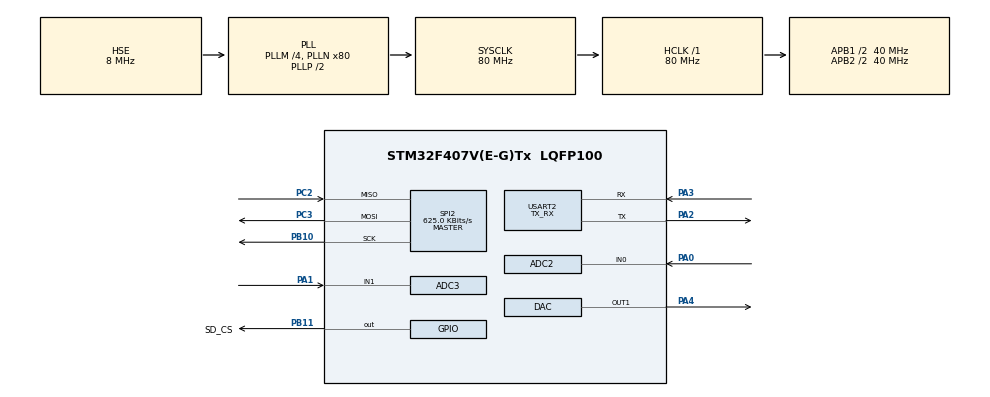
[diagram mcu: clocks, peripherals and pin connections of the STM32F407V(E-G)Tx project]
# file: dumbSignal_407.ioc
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ADC2.Channel-2\#ChannelRegularConversion=ADC_CHANNEL_0
ADC2.DMAContinuousRequests=ENABLE
ADC2.EOCSelection=ADC_EOC_SINGLE_CONV
ADC2.ExternalTrigConv=ADC_EXTERNALTRIGCONV_T3_TRGO
ADC2.NbrOfConversion=1
ADC2.NbrOfConversionFlag=1
ADC2.Rank-2\#ChannelRegularConversion=1
ADC2.SamplingTime-2\#ChannelRegularConversion=ADC_SAMPLETIME_3CYCLES
ADC2.ScanConvMode=ENABLE
ADC3.Channel-6\#ChannelRegularConversion=ADC_CHANNEL_1
ADC3.DMAContinuousRequests=ENABLE
ADC3.ExternalTrigConv=ADC_EXTERNALTRIGCONV_T3_TRGO
ADC3.ExternalTrigConvEdge=ADC_EXTERNALTRIGCONVEDGE_RISING
ADC3.NbrOfConversionFlag=1
ADC3.Rank-6\#ChannelRegularConversion=1
ADC3.SamplingTime-6\#ChannelRegularConversion=ADC_SAMPLETIME_3CYCLES
ADC3.ScanConvMode=ENABLE
DAC.DAC_Trigger=DAC_TRIGGER_T2_TRGO
Dma.ADC2.2.Direction=DMA_PERIPH_TO_MEMORY
Dma.ADC2.2.FIFOMode=DMA_FIFOMODE_DISABLE
Dma.ADC2.2.Instance=DMA2_Stream2
Dma.ADC2.2.MemDataAlignment=DMA_MDATAALIGN_WORD
Dma.ADC2.2.MemInc=DMA_MINC_ENABLE
Dma.ADC2.2.Mode=DMA_CIRCULAR
Dma.ADC2.2.PeriphDataAlignment=DMA_PDATAALIGN_WORD
Dma.ADC2.2.PeriphInc=DMA_PINC_DISABLE
Dma.ADC2.2.Priority=DMA_PRIORITY_LOW
Dma.ADC3.3.Direction=DMA_PERIPH_TO_MEMORY
Dma.ADC3.3.FIFOMode=DMA_FIFOMODE_DISABLE
Dma.ADC3.3.Instance=DMA2_Stream0
Dma.ADC3.3.MemDataAlignment=DMA_MDATAALIGN_WORD
Dma.ADC3.3.MemInc=DMA_MINC_ENABLE
Dma.ADC3.3.Mode=DMA_CIRCULAR
Dma.ADC3.3.PeriphDataAlignment=DMA_PDATAALIGN_WORD
Dma.ADC3.3.PeriphInc=DMA_PINC_DISABLE
Dma.ADC3.3.Priority=DMA_PRIORITY_LOW
Dma.DAC1.0.Direction=DMA_MEMORY_TO_PERIPH
Dma.DAC1.0.FIFOMode=DMA_FIFOMODE_DISABLE
Dma.DAC1.0.Instance=DMA1_Stream5
Dma.DAC1.0.MemDataAlignment=DMA_MDATAALIGN_WORD
Dma.DAC1.0.MemInc=DMA_MINC_ENABLE
Dma.DAC1.0.Mode=DMA_CIRCULAR
Dma.DAC1.0.PeriphDataAlignment=DMA_PDATAALIGN_WORD
Dma.DAC1.0.PeriphInc=DMA_PINC_DISABLE
Dma.DAC1.0.Priority=DMA_PRIORITY_HIGH
Dma.Request0=DAC1
Dma.Request1=USART2_TX
Dma.Request2=ADC2
Dma.Request3=ADC3
Dma.USART2_TX.1.Direction=DMA_MEMORY_TO_PERIPH
Dma.USART2_TX.1.FIFOMode=DMA_FIFOMODE_DISABLE
Dma.USART2_TX.1.Instance=DMA1_Stream6
Dma.USART2_TX.1.MemDataAlignment=DMA_MDATAALIGN_BYTE
Dma.USART2_TX.1.MemInc=DMA_MINC_ENABLE
Dma.USART2_TX.1.Mode=DMA_NORMAL
Dma.USART2_TX.1.PeriphDataAlignment=DMA_PDATAALIGN_BYTE
Dma.USART2_TX.1.PeriphInc=DMA_PINC_DISABLE
Dma.USART2_TX.1.Priority=DMA_PRIORITY_LOW
FATFS._MAX_SS=4096
FATFS._MIN_SS=512
FATFS._USE_LFN=1
Mcu.Family=STM32F4
Mcu.Name=STM32F407V(E-G)Tx
Mcu.Package=LQFP100
NVIC.DMA1_Stream5_IRQn=true\:0\:0\:false\:false\:true\:false\:true
NVIC.DMA1_Stream6_IRQn=true\:0\:0\:false\:false\:true\:false\:true
NVIC.DMA2_Stream0_IRQn=true\:0\:0\:false\:false\:true\:false\:true
NVIC.DMA2_Stream2_IRQn=true\:0\:0\:false\:false\:true\:false\:true
NVIC.PriorityGroup=NVIC_PRIORITYGROUP_4
NVIC.TIM2_IRQn=true\:0\:0\:false\:false\:true\:true\:true
NVIC.TIM3_IRQn=true\:0\:0\:false\:false\:true\:true\:true
NVIC.USART2_IRQn=true\:0\:0\:false\:false\:true\:true\:true
PA0-WKUP.Signal=ADCx_IN0
PA1.Signal=ADCx_IN1
PA2.Mode=Asynchronous
PA2.Signal=USART2_TX
PA3.Mode=Asynchronous
PA3.Signal=USART2_RX
PA4.Signal=COMP_DAC1_group
PB10.GPIO_PuPd=GPIO_PULLUP
PB10.Mode=Full_Duplex_Master
PB10.Signal=SPI2_SCK
PB11.GPIO_Label=SD_CS
PB11.Signal=GPIO_Output
PC14-OSC32_IN.Mode=LSE-External-Oscillator
PC14-OSC32_IN.Signal=RCC_OSC32_IN
PC15-OSC32_OUT.Mode=LSE-External-Oscillator
PC15-OSC32_OUT.Signal=RCC_OSC32_OUT
PC2.GPIO_PuPd=GPIO_PULLUP
PC2.Mode=Full_Duplex_Master
PC2.Signal=SPI2_MISO
PC3.GPIO_PuPd=GPIO_PULLUP
PC3.Mode=Full_Duplex_Master
PC3.Signal=SPI2_MOSI
PH0-OSC_IN.Mode=HSE-External-Oscillator
PH0-OSC_IN.Signal=RCC_OSC_IN
PH1-OSC_OUT.Mode=HSE-External-Oscillator
PH1-OSC_OUT.Signal=RCC_OSC_OUT
ProjectManager.HeapSize=0x200
ProjectManager.StackSize=0x400
ProjectManager.TargetToolchain=STM32CubeIDE
RCC.48MHZClocksFreq_Value=40000000
RCC.AHBFreq_Value=80000000
RCC.APB1CLKDivider=RCC_HCLK_DIV2
RCC.APB1Freq_Value=40000000
RCC.APB1TimFreq_Value=80000000
RCC.APB2CLKDivider=RCC_HCLK_DIV2
RCC.APB2Freq_Value=40000000
RCC.APB2TimFreq_Value=80000000
RCC.CortexFreq_Value=80000000
RCC.HCLKFreq_Value=80000000
RCC.HSE_VALUE=8000000
RCC.HSI_VALUE=16000000
RCC.PLLM=4
RCC.PLLN=80
RCC.PLLSourceVirtual=RCC_PLLSOURCE_HSE
RCC.SYSCLKFreq_VALUE=80000000
RCC.SYSCLKSource=RCC_SYSCLKSOURCE_PLLCLK
RCC.VCOOutputFreq_Value=160000000
SH.ADCx_IN0.0=ADC2_IN0,IN0
SH.ADCx_IN1.0=ADC3_IN1,IN1
SH.COMP_DAC1_group.0=DAC_OUT1,DAC_OUT1
SPI2.BaudRatePrescaler=SPI_BAUDRATEPRESCALER_64
SPI2.CalculateBaudRate=625.0 KBits/s
SPI2.Direction=SPI_DIRECTION_2LINES
SPI2.Mode=SPI_MODE_MASTER
SPI2.VirtualType=VM_MASTER
TIM2.Period=39
TIM2.Prescaler=80-1
TIM2.TIM_MasterOutputTrigger=TIM_TRGO_UPDATE
TIM3.Period=1000-1
TIM3.Prescaler=80-1
TIM3.TIM_MasterOutputTrigger=TIM_TRGO_UPDATE
USART2.Mode=MODE_TX_RX
USART2.VirtualMode=VM_ASYNC
VP_FATFS_VS_Generic.Mode=User_defined
VP_TIM2_VS_ClockSourceINT.Mode=Internal
VP_TIM3_VS_ClockSourceINT.Mode=Internal
board=custom

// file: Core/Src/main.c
/* USER CODE BEGIN Header */
/**
 ******************************************************************************
 * @file           : main.c
 * @brief          : Main program body
 ******************************************************************************
 * @attention
 *
 * <h2><center>&copy; Copyright (c) 2023 STMicroelectronics.
 * All rights reserved.</center></h2>
 *
 * This software component is licensed by ST under BSD 3-Clause license,
 * the "License"; You may not use this file except in compliance with the
 * License. You may obtain a copy of the License at:
 *                        opensource.org/licenses/BSD-3-Clause
 *
 ******************************************************************************
 */
/* USER CODE END Header */
#include "main.h"
/* USER CODE BEGIN Includes */
#include "fatfs.h"
#include "math.h"
#include <arm_math.h>
#include <stdio.h>
#include <string.h>
#include <stdbool.h>
#include "fatfs_sd_card.h"
/* USER CODE END Includes */

ADC_HandleTypeDef hadc2;
ADC_HandleTypeDef hadc3;
DMA_HandleTypeDef hdma_adc2;
DMA_HandleTypeDef hdma_adc3;

DAC_HandleTypeDef hdac;
DMA_HandleTypeDef hdma_dac1;

SPI_HandleTypeDef hspi2;

TIM_HandleTypeDef htim2;
TIM_HandleTypeDef htim3;

UART_HandleTypeDef huart2;
DMA_HandleTypeDef hdma_usart2_tx;

/* USER CODE BEGIN PV */
//Must the power of 2!
#define FFT_BUFFER_SIZE 1024
#define VIBRO_BUFFER_SIZE 256
#define SAMPLE_RATE 1000.0f

//Two buffers to collect raw data from two ADXL335 accelerometers sampled by ADC using DMA transfer
uint32_t accelRight[VIBRO_BUFFER_SIZE], accelLeft[VIBRO_BUFFER_SIZE];

//Two input and output buffers for FFT analysis
float fftBufInRight[FFT_BUFFER_SIZE];
float fftBufInLeft[FFT_BUFFER_SIZE];
float fftBufOutRight[FFT_BUFFER_SIZE];
float fftBufOutLeft[FFT_BUFFER_SIZE];

//Two FFT instances from CMSIS DSP arm_math.h library
arm_rfft_fast_instance_f32 R;
arm_rfft_fast_instance_f32 L;

//Flags to know when the DMA callback functions are triggered
uint8_t processHalfFlag = 0;
uint8_t fftHalfFlag = 0;
uint8_t fftFullFlag = 0;
uint8_t fftFlag = 0;
uint16_t freqRight = 0;
uint16_t freqLeft = 0;

uint32_t tempRight = 0;
uint32_t tempLeft = 0;
/* USER CODE END PV */

void SystemClock_Config(void);
static void MX_GPIO_Init(void);
static void MX_DMA_Init(void);
static void MX_DAC_Init(void);
static void MX_TIM2_Init(void);
static void MX_TIM3_Init(void);
static void MX_SPI2_Init(void);
static void MX_USART2_UART_Init(void);
static void MX_ADC2_Init(void);
static void MX_ADC3_Init(void);
/* USER CODE BEGIN PFP */
void process_SD_card(void);
/* USER CODE END PFP */

/* USER CODE BEGIN 0 */
//sine wave generation
#define NS  128

uint32_t Wave_LUT[NS] = { 512, 537, 562, 587, 612, 636, 661, 684, 708, 731, 753,
		775, 796, 817, 837, 856, 874, 891, 908, 923, 938, 951, 964, 975, 985,
		994, 1002, 1009, 1014, 1018, 1022, 1023, 1024, 1023, 1022, 1018, 1014,
		1009, 1002, 994, 985, 975, 964, 951, 938, 923, 908, 891, 874, 856, 837,
		817, 796, 775, 753, 731, 708, 684, 661, 636, 612, 587, 562, 537, 512,
		487, 462, 437, 412, 388, 363, 340, 316, 293, 271, 249, 228, 207, 187,
		168, 150, 133, 116, 101, 86, 73, 60, 49, 39, 30, 22, 15, 10, 6, 2, 1, 0,
		1, 2, 6, 10, 15, 22, 30, 39, 49, 60, 73, 86, 101, 116, 133, 150, 168,
		187, 207, 228, 249, 271, 293, 316, 340, 363, 388, 412, 437, 462, 487 };

void Process_HalfBuffer() {

	static int16_t fftIndex = 0;

	uint16_t lowerLimit = 0;
	uint16_t upperLimit = 0;

	if (fftHalfFlag) {
		lowerLimit = 0;
		upperLimit = VIBRO_BUFFER_SIZE / 2;
	}

	if (fftFullFlag) {
		lowerLimit = VIBRO_BUFFER_SIZE / 2;
		upperLimit = VIBRO_BUFFER_SIZE;
	}

	for (uint16_t n = lowerLimit; n < upperLimit; n++) {

		fftBufInRight[fftIndex] = (float) accelRight[n];
		fftBufInLeft[fftIndex] = (float) accelLeft[n];

		fftIndex++;

		if (fftIndex == FFT_BUFFER_SIZE) {

			/*Only the first half of the FFT output buffer provides the correct result
				due to a symmetric nature of real-valued signals. */

			arm_rfft_fast_f32(&L, fftBufInLeft, fftBufOutLeft, 0);
			arm_cmplx_mag_f32(fftBufOutLeft, fftBufOutLeft,
					FFT_BUFFER_SIZE / 2);
			fftBufOutLeft[0] = 0;

			arm_rfft_fast_f32(&R, fftBufInRight, fftBufOutRight, 0);
			arm_cmplx_mag_f32(fftBufOutRight, fftBufOutRight,
					FFT_BUFFER_SIZE / 2);
			fftBufOutRight[0] = 0;

			//Use arm_max_f32() to print the dominant frequency
			/*
			*************************************************************
			float peakValRight = 0;
			uint32_t freqRight = 0;
			float peakValLeft = 0;
			uint32_t freqLeft = 0;

			arm_max_f32(fftBufOutRight, FFT_BUFFER_SIZE, &peakValRight,
					&freqRight);
			arm_max_f32(fftBufOutLeft, FFT_BUFFER_SIZE, &peakValLeft,
					&freqLeft);
			printf("Magnitude Right: %f, Frequency: %lu \n", peakValRight,
					freqRight);
			printf("Magnitude Left: %f, Frequency: %lu \n", peakValLeft,
					freqLeft);

			printf("\n");
			*************************************************************
			*/

			//This part of the code might be useful for printing the frequencies of several harmonics of a signal
			/*
			*************************************************************
			float curValRight = 0;
			float peakValRight = fftBufOutLeft[1];
			float curValLeft = 0;
			float peakValLeft = fftBufOutRight[1];

			for (uint16_t index = 1; index < FFT_BUFFER_SIZE/2; index ++) {
			 curValRight = fftBufOutRight[index];
			 curValLeft = fftBufOutLeft[index];

			 uint16_t frequency = index * SAMPLE_RATE / FFT_BUFFER_SIZE;

			 if (curValRight > peakValRight) {
			 peakValRight = curValRight;
			 freqRight = frequency;
			 }

			 if (curValLeft > peakValLeft) {
			 peakValLeft = curValLeft;
			 freqLeft = frequency;
			 }

			 printf("Magnitude Right: %f, Frequency: %u \n", peakValRight, freqRight);
			 printf("Magnitude Left: %f, Frequency: %u \n", peakValLeft, freqLeft);

			 printf("\n");
			 }
			 *************************************************************
			 */

			fftFlag = 1;
			fftIndex = 0;
		}
	}
}

void HAL_ADC_ConvHalfCpltCallback(ADC_HandleTypeDef *hadc) {
	fftHalfFlag = 1;
	fftFullFlag = 0;
	processHalfFlag = 1;
}

void HAL_ADC_ConvCpltCallback(ADC_HandleTypeDef *hadc) {
	processHalfFlag = 1;
	fftHalfFlag = 0;
	fftFullFlag = 1;
}

/* USER CODE END 0 */

int main(void) {

	/* MCU Configuration--------------------------------------------------------*/

	/* Reset of all peripherals, Initializes the Flash interface and the Systick. */
	HAL_Init();

	/* Configure the system clock */
	SystemClock_Config();

	/* Initialize all configured peripherals */
	MX_GPIO_Init();
	MX_DMA_Init();
	MX_DAC_Init();
	MX_TIM2_Init();
	MX_TIM3_Init();
	MX_FATFS_Init();
	MX_SPI2_Init();
	MX_USART2_UART_Init();
	MX_ADC2_Init();
	MX_ADC3_Init();
	/* USER CODE BEGIN 2 */

	HAL_TIM_Base_Start(&htim2);
	HAL_DAC_Start_DMA(&hdac, DAC_CHANNEL_1, (uint32_t*) Wave_LUT, 128,
	DAC_ALIGN_12B_R);

	HAL_TIM_Base_Start(&htim3);
	HAL_ADC_Start_DMA(&hadc2, accelRight, VIBRO_BUFFER_SIZE);
	HAL_ADC_Start_DMA(&hadc3, accelLeft, VIBRO_BUFFER_SIZE);

	arm_rfft_fast_init_f32(&R, FFT_BUFFER_SIZE);
	arm_rfft_fast_init_f32(&L, FFT_BUFFER_SIZE);

	/* USER CODE END 2 */

	/* Infinite loop */
	/* USER CODE BEGIN WHILE */

	//process_SD_card();
	while (1) {
		/* USER CODE END WHILE */

		/* USER CODE BEGIN 3 */

		/*
		 * When the DMA callback function is triggered, we start processing the first half of the
		 * ADC buffer, while other half continues being filled with the data.
		*/
		if (processHalfFlag) {
			Process_HalfBuffer();
			processHalfFlag = 0;
		}

	}

	/* USER CODE END 3 */
}

void SystemClock_Config(void) {
	RCC_OscInitTypeDef RCC_OscInitStruct = { 0 };
	RCC_ClkInitTypeDef RCC_ClkInitStruct = { 0 };

	/** Configure the main internal regulator output voltage
	 */
	__HAL_RCC_PWR_CLK_ENABLE();
	__HAL_PWR_VOLTAGESCALING_CONFIG(PWR_REGULATOR_VOLTAGE_SCALE1);
	/** Initializes the RCC Oscillators according to the specified parameters
	 * in the RCC_OscInitTypeDef structure.
	 */
	RCC_OscInitStruct.OscillatorType = RCC_OSCILLATORTYPE_HSE;
	RCC_OscInitStruct.HSEState = RCC_HSE_ON;
	RCC_OscInitStruct.PLL.PLLState = RCC_PLL_ON;
	RCC_OscInitStruct.PLL.PLLSource = RCC_PLLSOURCE_HSE;
	RCC_OscInitStruct.PLL.PLLM = 4;
	RCC_OscInitStruct.PLL.PLLN = 80;
	RCC_OscInitStruct.PLL.PLLP = RCC_PLLP_DIV2;
	RCC_OscInitStruct.PLL.PLLQ = 4;
	if (HAL_RCC_OscConfig(&RCC_OscInitStruct) != HAL_OK) {
		Error_Handler();
	}
	/** Initializes the CPU, AHB and APB buses clocks
	 */
	RCC_ClkInitStruct.ClockType = RCC_CLOCKTYPE_HCLK | RCC_CLOCKTYPE_SYSCLK
			| RCC_CLOCKTYPE_PCLK1 | RCC_CLOCKTYPE_PCLK2;
	RCC_ClkInitStruct.SYSCLKSource = RCC_SYSCLKSOURCE_PLLCLK;
	RCC_ClkInitStruct.AHBCLKDivider = RCC_SYSCLK_DIV1;
	RCC_ClkInitStruct.APB1CLKDivider = RCC_HCLK_DIV2;
	RCC_ClkInitStruct.APB2CLKDivider = RCC_HCLK_DIV2;

	if (HAL_RCC_ClockConfig(&RCC_ClkInitStruct, FLASH_LATENCY_2) != HAL_OK) {
		Error_Handler();
	}
}

static void MX_ADC2_Init(void) {

	ADC_ChannelConfTypeDef sConfig = { 0 };

	/** Configure the global features of the ADC (Clock, Resolution, Data Alignment and number of conversion)
	 */
	hadc2.Instance = ADC2;
	hadc2.Init.ClockPrescaler = ADC_CLOCK_SYNC_PCLK_DIV2;
	hadc2.Init.Resolution = ADC_RESOLUTION_12B;
	hadc2.Init.ScanConvMode = ENABLE;
	hadc2.Init.ContinuousConvMode = DISABLE;
	hadc2.Init.DiscontinuousConvMode = DISABLE;
	hadc2.Init.ExternalTrigConvEdge = ADC_EXTERNALTRIGCONVEDGE_RISING;
	hadc2.Init.ExternalTrigConv = ADC_EXTERNALTRIGCONV_T3_TRGO;
	hadc2.Init.DataAlign = ADC_DATAALIGN_RIGHT;
	hadc2.Init.NbrOfConversion = 1;
	hadc2.Init.DMAContinuousRequests = ENABLE;
	hadc2.Init.EOCSelection = ADC_EOC_SINGLE_CONV;
	if (HAL_ADC_Init(&hadc2) != HAL_OK) {
		Error_Handler();
	}
	/** Configure for the selected ADC regular channel its corresponding rank in the sequencer and its sample time.
	 */
	sConfig.Channel = ADC_CHANNEL_0;
	sConfig.Rank = 1;
	sConfig.SamplingTime = ADC_SAMPLETIME_3CYCLES;
	if (HAL_ADC_ConfigChannel(&hadc2, &sConfig) != HAL_OK) {
		Error_Handler();
	}

}

static void MX_ADC3_Init(void) {

	ADC_ChannelConfTypeDef sConfig = { 0 };

	/** Configure the global features of the ADC (Clock, Resolution, Data Alignment and number of conversion)
	 */
	hadc3.Instance = ADC3;
	hadc3.Init.ClockPrescaler = ADC_CLOCK_SYNC_PCLK_DIV2;
	hadc3.Init.Resolution = ADC_RESOLUTION_12B;
	hadc3.Init.ScanConvMode = ENABLE;
	hadc3.Init.ContinuousConvMode = DISABLE;
	hadc3.Init.DiscontinuousConvMode = DISABLE;
	hadc3.Init.ExternalTrigConvEdge = ADC_EXTERNALTRIGCONVEDGE_RISING;
	hadc3.Init.ExternalTrigConv = ADC_EXTERNALTRIGCONV_T3_TRGO;
	hadc3.Init.DataAlign = ADC_DATAALIGN_RIGHT;
	hadc3.Init.NbrOfConversion = 1;
	hadc3.Init.DMAContinuousRequests = ENABLE;
	hadc3.Init.EOCSelection = ADC_EOC_SINGLE_CONV;
	if (HAL_ADC_Init(&hadc3) != HAL_OK) {
		Error_Handler();
	}
	/** Configure for the selected ADC regular channel its corresponding rank in the sequencer and its sample time.
	 */
	sConfig.Channel = ADC_CHANNEL_1;
	sConfig.Rank = 1;
	sConfig.SamplingTime = ADC_SAMPLETIME_3CYCLES;
	if (HAL_ADC_ConfigChannel(&hadc3, &sConfig) != HAL_OK) {
		Error_Handler();
	}

}

static void MX_DAC_Init(void) {

	DAC_ChannelConfTypeDef sConfig = { 0 };

	/** DAC Initialization
	 */
	hdac.Instance = DAC;
	if (HAL_DAC_Init(&hdac) != HAL_OK) {
		Error_Handler();
	}
	/** DAC channel OUT1 config
	 */
	sConfig.DAC_Trigger = DAC_TRIGGER_T2_TRGO;
	sConfig.DAC_OutputBuffer = DAC_OUTPUTBUFFER_ENABLE;
	if (HAL_DAC_ConfigChannel(&hdac, &sConfig, DAC_CHANNEL_1) != HAL_OK) {
		Error_Handler();
	}

}

static void MX_SPI2_Init(void) {

	/* SPI2 parameter configuration*/
	hspi2.Instance = SPI2;
	hspi2.Init.Mode = SPI_MODE_MASTER;
	hspi2.Init.Direction = SPI_DIRECTION_2LINES;
	hspi2.Init.DataSize = SPI_DATASIZE_8BIT;
	hspi2.Init.CLKPolarity = SPI_POLARITY_LOW;
	hspi2.Init.CLKPhase = SPI_PHASE_1EDGE;
	hspi2.Init.NSS = SPI_NSS_SOFT;
	hspi2.Init.BaudRatePrescaler = SPI_BAUDRATEPRESCALER_64;
	hspi2.Init.FirstBit = SPI_FIRSTBIT_MSB;
	hspi2.Init.TIMode = SPI_TIMODE_DISABLE;
	hspi2.Init.CRCCalculation = SPI_CRCCALCULATION_DISABLE;
	hspi2.Init.CRCPolynomial = 10;
	if (HAL_SPI_Init(&hspi2) != HAL_OK) {
		Error_Handler();
	}

}

static void MX_TIM2_Init(void) {

	TIM_ClockConfigTypeDef sClockSourceConfig = { 0 };
	TIM_MasterConfigTypeDef sMasterConfig = { 0 };

	htim2.Instance = TIM2;
	htim2.Init.Prescaler = 80 - 1;
	htim2.Init.CounterMode = TIM_COUNTERMODE_UP;
	htim2.Init.Period = 39;
	htim2.Init.ClockDivision = TIM_CLOCKDIVISION_DIV1;
	htim2.Init.AutoReloadPreload = TIM_AUTORELOAD_PRELOAD_DISABLE;
	if (HAL_TIM_Base_Init(&htim2) != HAL_OK) {
		Error_Handler();
	}
	sClockSourceConfig.ClockSource = TIM_CLOCKSOURCE_INTERNAL;
	if (HAL_TIM_ConfigClockSource(&htim2, &sClockSourceConfig) != HAL_OK) {
		Error_Handler();
	}
	sMasterConfig.MasterOutputTrigger = TIM_TRGO_UPDATE;
	sMasterConfig.MasterSlaveMode = TIM_MASTERSLAVEMODE_DISABLE;
	if (HAL_TIMEx_MasterConfigSynchronization(&htim2, &sMasterConfig)
			!= HAL_OK) {
		Error_Handler();
	}

}

static void MX_TIM3_Init(void) {

	TIM_ClockConfigTypeDef sClockSourceConfig = { 0 };
	TIM_MasterConfigTypeDef sMasterConfig = { 0 };

	htim3.Instance = TIM3;
	htim3.Init.Prescaler = 80 - 1;
	htim3.Init.CounterMode = TIM_COUNTERMODE_UP;
	htim3.Init.Period = 1000 - 1;
	htim3.Init.ClockDivision = TIM_CLOCKDIVISION_DIV1;
	htim3.Init.AutoReloadPreload = TIM_AUTORELOAD_PRELOAD_DISABLE;
	if (HAL_TIM_Base_Init(&htim3) != HAL_OK) {
		Error_Handler();
	}
	sClockSourceConfig.ClockSource = TIM_CLOCKSOURCE_INTERNAL;
	if (HAL_TIM_ConfigClockSource(&htim3, &sClockSourceConfig) != HAL_OK) {
		Error_Handler();
	}
	sMasterConfig.MasterOutputTrigger = TIM_TRGO_UPDATE;
	sMasterConfig.MasterSlaveMode = TIM_MASTERSLAVEMODE_DISABLE;
	if (HAL_TIMEx_MasterConfigSynchronization(&htim3, &sMasterConfig)
			!= HAL_OK) {
		Error_Handler();
	}

}

static void MX_USART2_UART_Init(void) {

	huart2.Instance = USART2;
	huart2.Init.BaudRate = 115200;
	huart2.Init.WordLength = UART_WORDLENGTH_8B;
	huart2.Init.StopBits = UART_STOPBITS_1;
	huart2.Init.Parity = UART_PARITY_NONE;
	huart2.Init.Mode = UART_MODE_TX_RX;
	huart2.Init.HwFlowCtl = UART_HWCONTROL_NONE;
	huart2.Init.OverSampling = UART_OVERSAMPLING_16;
	if (HAL_UART_Init(&huart2) != HAL_OK) {
		Error_Handler();
	}

}

static void MX_DMA_Init(void) {

	/* DMA controller clock enable */
	__HAL_RCC_DMA1_CLK_ENABLE();
	__HAL_RCC_DMA2_CLK_ENABLE();

	/* DMA interrupt init */
	/* DMA1_Stream5_IRQn interrupt configuration */
	HAL_NVIC_SetPriority(DMA1_Stream5_IRQn, 0, 0);
	HAL_NVIC_EnableIRQ(DMA1_Stream5_IRQn);
	/* DMA1_Stream6_IRQn interrupt configuration */
	HAL_NVIC_SetPriority(DMA1_Stream6_IRQn, 0, 0);
	HAL_NVIC_EnableIRQ(DMA1_Stream6_IRQn);
	/* DMA2_Stream0_IRQn interrupt configuration */
	HAL_NVIC_SetPriority(DMA2_Stream0_IRQn, 0, 0);
	HAL_NVIC_EnableIRQ(DMA2_Stream0_IRQn);
	/* DMA2_Stream2_IRQn interrupt configuration */
	HAL_NVIC_SetPriority(DMA2_Stream2_IRQn, 0, 0);
	HAL_NVIC_EnableIRQ(DMA2_Stream2_IRQn);

}

static void MX_GPIO_Init(void) {
	GPIO_InitTypeDef GPIO_InitStruct = { 0 };

	/* GPIO Ports Clock Enable */
	__HAL_RCC_GPIOC_CLK_ENABLE();
	__HAL_RCC_GPIOH_CLK_ENABLE();
	__HAL_RCC_GPIOA_CLK_ENABLE();
	__HAL_RCC_GPIOB_CLK_ENABLE();

	/*Configure GPIO pin Output Level */
	HAL_GPIO_WritePin(SD_CS_GPIO_Port, SD_CS_Pin, GPIO_PIN_RESET);

	/*Configure GPIO pin : SD_CS_Pin */
	GPIO_InitStruct.Pin = SD_CS_Pin;
	GPIO_InitStruct.Mode = GPIO_MODE_OUTPUT_PP;
	GPIO_InitStruct.Pull = GPIO_NOPULL;
	GPIO_InitStruct.Speed = GPIO_SPEED_FREQ_LOW;
	HAL_GPIO_Init(SD_CS_GPIO_Port, &GPIO_InitStruct);

}

/* USER CODE BEGIN 4 */
int _write(int file, char *ptr, int len) {
	int DataIdx;

	for (DataIdx = 0; DataIdx < len; DataIdx++) {
		ITM_SendChar(*ptr++);
	}
	return len;
}

//This part of the code is taken from
//https://controllerstech.com/sd-card-using-spi-in-stm32
//and adapted to the purposes of this project
void process_SD_card(void) {
 FATFS FatFs;                //Fatfs handle
 FIL fil;                  //File handle
 FRESULT fres;                 //Result after operations
 char buf[100];
 UINT bytesWritten;

 do {
 //Mount the SD Card
 fres = f_mount(&FatFs, "", 1);    //1=mount now
 if (fres != FR_OK) {
 printf("No SD Card found : (%i)\r\n", fres);
 break;
 }
 printf("SD Card Mounted Successfully!!!\r\n");

 //Read the SD Card Total size and Free Size
 FATFS *pfs;
 DWORD fre_clust;
 uint32_t totalSpace, freeSpace;

 f_getfree("", &fre_clust, &pfs);
 totalSpace = (uint32_t) ((pfs->n_fatent - 2) * pfs->csize * 0.5);
 freeSpace = (uint32_t) (fre_clust * pfs->csize * 0.5);

 printf("TotalSpace : %lu bytes, FreeSpace = %lu bytes\n", totalSpace,
 freeSpace);

 //Open the file
 fres = f_open(&fil, "adc.csv", FA_WRITE | FA_CREATE_ALWAYS);
 if (fres != FR_OK) {
 printf("File creation/open Error : (%i)\r\n", fres);
 break;
 } else {
 float timeStep = 1.0f / SAMPLE_RATE;

 sprintf(buf, "Time (s),ADC Value\r\n");
 fres = f_write(&fil, buf, strlen(buf), &bytesWritten);

 if (fres != FR_OK) {
 printf("Error writing header to the file : (%i)\r\n", fres);
 break;
 }

 for (int i = 0; i < VIBRO_BUFFER_SIZE / 4; i++) {
 float time = i * timeStep;

 float voltage = ((accelRight[i] * 5.0f) / 4095.0f - 1.8)/0.330; //0g bias level at Zout - see datasheet
 sprintf(buf, "%.6f,%.6f\r\n", time, voltage);
 fres = f_write(&fil, buf, strlen(buf), &bytesWritten);
 if (fres != FR_OK) {
 printf("Error writing data to the file : (%i)\r\n", fres);
 break;
 }
 }
 }
 //write the data

 //close your file
 f_close(&fil);
 printf("Writing data to file completed!!!\r\n");

 #if 0
 //Delete the file.
 fres = f_unlink(EmbeTronicX.txt);
 if (fres != FR_OK)
 {
 printf("Cannot able to delete the file\n");
 }
 #endif
 } while ( false);

 //We're done, so de-mount the drive
 f_mount(NULL, "", 1);
 printf("SD Card Unmounted Successfully!!!\r\n");
 }
/* USER CODE END 4 */

void Error_Handler(void) {
}

/************************ (C) COPYRIGHT STMicroelectronics *****END OF FILE****/
